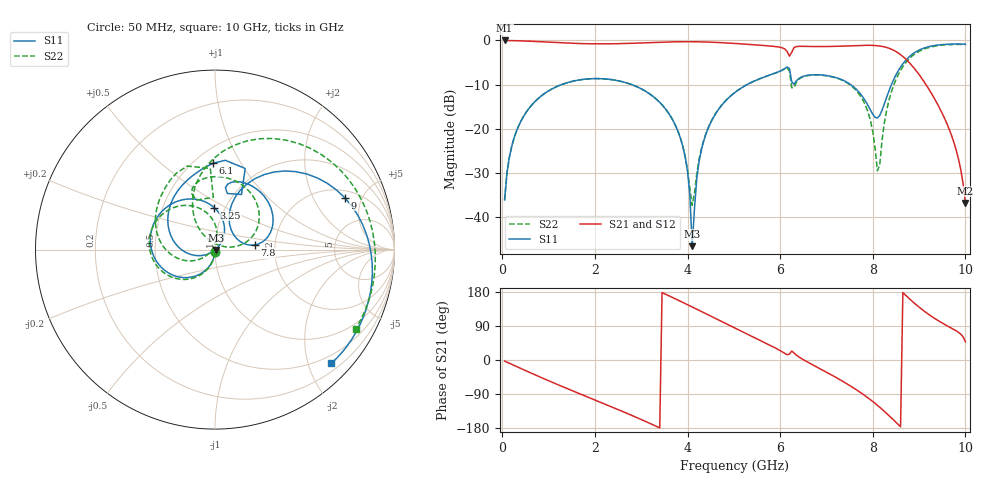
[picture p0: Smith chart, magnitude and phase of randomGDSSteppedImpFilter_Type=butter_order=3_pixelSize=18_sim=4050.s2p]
! freq	dB(S11)	phase(S11)	dB(S12)	phase(S12)
!  dB(S21)	phase(S21)	dB(S22)	phase(S22)
!S-par simulation data
#  GHz  S  DB  R 50
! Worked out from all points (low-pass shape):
!   200 points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, 50 MHz to 10 GHz, reference 50 ohm
!   highest |S21| = 0.00 dB at 50 MHz (marker M1); lowest = -36.7 dB at 10 GHz (marker M2)
!   |S21| within 3 dB of the highest: start of sweep to 6.175 GHz; 6.231 GHz to 8.572 GHz (2.341 GHz wide, 31.6 % of centre)
!   lowest |S11| = -46.5 dB at 4.1 GHz (marker M3), VSWR 1.01, Z = 50.4 - j0.222 ohm
!   |S11| at or under -10 dB: start of sweep to 1.276 GHz; 2.799 GHz to 5.285 GHz (2.486 GHz wide, 61.5 % of centre); 7.523 GHz to 8.403 GHz (879.6 MHz wide, 11 % of centre)
!   |S22| runs from -37.3 to -0.9 dB; largest |S21 - S12| = 0
!   S11 on the Smith chart (normalised r, x): 50 MHz: 1.00, -0.03; 3.25 GHz: 0.89, +0.44; 6.1 GHz: 0.61, +0.77; 7.8 GHz: 1.57, +0.09; 9 GHz: 2.45, +3.60; 10 GHz: 0.34, -2.41
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0.05  -36.05 -92.8  -0.00 -2.8  -0.00 -2.8  -36.05 -92.6
0.2  -24.10 -101.9  -0.03 -11.2  -0.03 -11.2  -24.09 -101.1
0.5  -16.48 -119.4  -0.14 -27.8  -0.14 -27.8  -16.48 -117.3
1.75  -8.80 172.7  -0.73 -93.0  -0.73 -93.0  -8.80 -179.9
3.25  -12.61 91.1  -0.46 -170.8  -0.46 -170.8  -12.61 107.9
3.4  -14.00 82.3  -0.41 -179.2  -0.41 -179.2  -14.01 100.5
3.9  -24.03 50.8  -0.29 151.9  -0.29 151.9  -23.97 81.4
4.05  -34.91 37.0  -0.29 143.0  -0.29 143.0  -33.37 99.6
4.1  -46.51 -27.7  -0.29 140.0  -0.29 140.0  -37.29 141.2
4.2  -31.14 -142.3  -0.31 134.0  -0.31 134.0  -30.04 -151.8
4.35  -22.72 -154.2  -0.34 125.0  -0.34 125.0  -22.48 -145.6
5.05  -11.56 160.8  -0.70 82.9  -0.70 82.9  -11.52 -178.0
6.1  -6.35 91.1  -1.93 17.5  -1.93 17.5  -6.43 116.9
6.25  -9.35 64.3  -2.68 23.8  -2.68 23.8  -10.71 91.8
6.7  -7.77 62.4  -1.38 -12.5  -1.38 -12.5  -7.83 92.4
7.8  -13.03 6.7  -1.11 -91.4  -1.11 -91.4  -13.74 17.1
8  -16.69 18.2  -1.12 -109.6  -1.12 -109.6  -20.65 8.6
8.1  -17.53 39.0  -1.20 -119.5  -1.20 -119.5  -29.45 43.3
8.35  -11.38 69.8  -1.77 -146.7  -1.77 -146.7  -13.53 123.2
9  -2.18 21.9  -7.72 139.5  -7.72 139.5  -2.47 51.8
9.7  -0.82 -27.5  -21.46 84.0  -21.46 84.0  -0.93 -8.8
10  -0.85 -44.3  -36.74 48.1  -36.74 48.1  -0.91 -29.5
